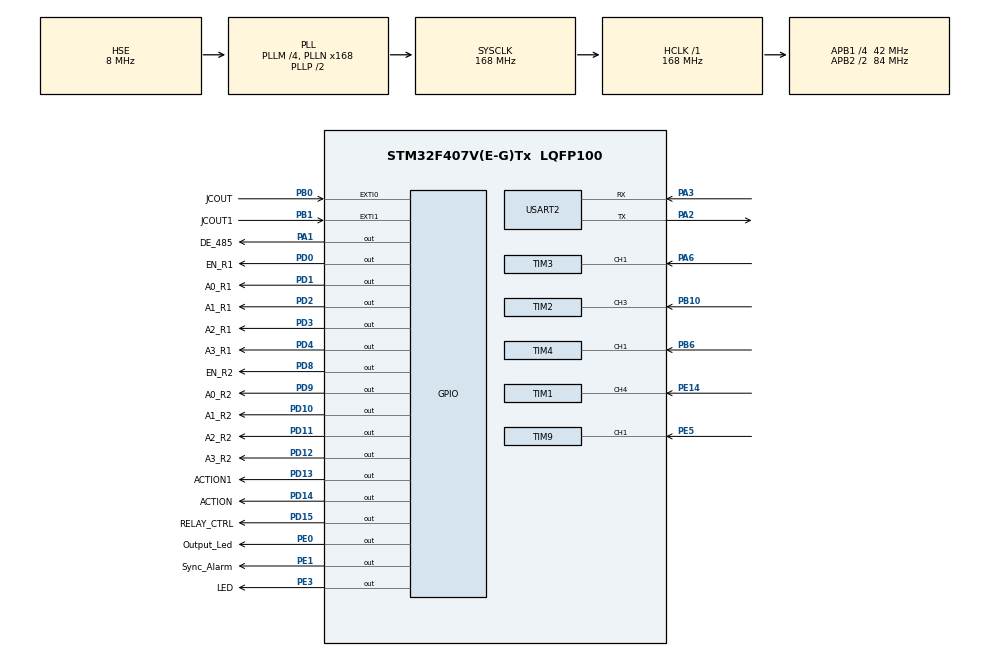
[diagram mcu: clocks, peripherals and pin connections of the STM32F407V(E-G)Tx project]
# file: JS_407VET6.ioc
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FREERTOS.CountingSemaphores01=HolesCountingSem,16,Dynamic,NULL
FREERTOS.Tasks01=SYNCTask,24,128,StartSYNCTask,Default,NULL,Dynamic,NULL,NULL;ICTask,8,128,StartICTask,Default,NULL,Dynamic,NULL,NULL;Rec_SwitchTask,8,128,StartRec_switchTask,Default,NULL,Dynamic,NULL,NULL;Holes_OutputTas,8,128,StartHoles_OutputTask,Default,NULL,Dynamic,NULL,NULL
Mcu.Family=STM32F4
Mcu.Name=STM32F407V(E-G)Tx
Mcu.Package=LQFP100
NVIC.EXTI0_IRQn=true\:5\:0\:false\:false\:true\:true\:true\:true\:true
NVIC.EXTI1_IRQn=true\:5\:0\:false\:false\:true\:true\:true\:true\:true
NVIC.PriorityGroup=NVIC_PRIORITYGROUP_4
NVIC.TIM1_BRK_TIM9_IRQn=true\:5\:0\:false\:false\:true\:true\:true\:true\:true
NVIC.TIM1_CC_IRQn=true\:5\:0\:false\:false\:true\:true\:true\:true\:true
NVIC.TIM1_TRG_COM_TIM11_IRQn=true\:5\:0\:false\:false\:true\:true\:true\:true\:true
NVIC.TIM1_UP_TIM10_IRQn=true\:5\:0\:false\:false\:true\:true\:true\:true\:true
NVIC.TIM2_IRQn=true\:5\:0\:false\:false\:true\:true\:true\:true\:true
NVIC.TIM3_IRQn=true\:5\:0\:false\:false\:true\:true\:true\:true\:true
NVIC.TIM4_IRQn=true\:5\:0\:false\:false\:true\:true\:true\:true\:true
NVIC.TIM6_DAC_IRQn=true\:5\:0\:false\:false\:true\:true\:true\:true\:true
NVIC.TIM7_IRQn=true\:5\:0\:false\:false\:true\:true\:true\:true\:true
NVIC.TIM8_UP_TIM13_IRQn=true\:15\:0\:false\:false\:true\:false\:false\:true\:true
NVIC.TimeBase=TIM8_UP_TIM13_IRQn
NVIC.TimeBaseIP=TIM13
NVIC.USART2_IRQn=true\:5\:0\:false\:false\:true\:true\:true\:true\:true
PA1.GPIO_Label=DE_485
PA1.GPIO_ModeDefaultOutputPP=GPIO_MODE_OUTPUT_PP
PA1.GPIO_PuPd=GPIO_NOPULL
PA1.GPIO_Speed=GPIO_SPEED_FREQ_HIGH
PA1.Signal=GPIO_Output
PA13.Mode=Serial_Wire
PA13.Signal=SYS_JTMS-SWDIO
PA14.Mode=Serial_Wire
PA14.Signal=SYS_JTCK-SWCLK
PA2.Mode=Asynchronous
PA2.Signal=USART2_TX
PA3.Mode=Asynchronous
PA3.Signal=USART2_RX
PA6.Signal=S_TIM3_CH1
PB0.GPIO_Label=JCOUT
PB0.Signal=GPXTI0
PB1.GPIO_Label=JCOUT1
PB1.Signal=GPXTI1
PB10.Signal=S_TIM2_CH3
PB6.Signal=S_TIM4_CH1
PD0.GPIO_Label=EN_R1
PD0.GPIO_ModeDefaultOutputPP=GPIO_MODE_OUTPUT_OD
PD0.GPIO_PuPd=GPIO_NOPULL
PD0.GPIO_Speed=GPIO_SPEED_FREQ_HIGH
PD0.Signal=GPIO_Output
PD1.GPIO_Label=A0_R1
PD1.GPIO_ModeDefaultOutputPP=GPIO_MODE_OUTPUT_OD
PD1.GPIO_PuPd=GPIO_NOPULL
PD1.GPIO_Speed=GPIO_SPEED_FREQ_HIGH
PD1.Signal=GPIO_Output
PD10.GPIO_Label=A1_R2
PD10.GPIO_ModeDefaultOutputPP=GPIO_MODE_OUTPUT_OD
PD10.GPIO_PuPd=GPIO_NOPULL
PD10.GPIO_Speed=GPIO_SPEED_FREQ_HIGH
PD10.Signal=GPIO_Output
PD11.GPIO_Label=A2_R2
PD11.GPIO_ModeDefaultOutputPP=GPIO_MODE_OUTPUT_OD
PD11.GPIO_PuPd=GPIO_NOPULL
PD11.GPIO_Speed=GPIO_SPEED_FREQ_HIGH
PD11.Signal=GPIO_Output
PD12.GPIO_Label=A3_R2
PD12.GPIO_ModeDefaultOutputPP=GPIO_MODE_OUTPUT_OD
PD12.GPIO_PuPd=GPIO_NOPULL
PD12.GPIO_Speed=GPIO_SPEED_FREQ_HIGH
PD12.Signal=GPIO_Output
PD13.GPIO_Label=ACTION1
PD13.GPIO_ModeDefaultOutputPP=GPIO_MODE_OUTPUT_OD
PD13.GPIO_PuPd=GPIO_NOPULL
PD13.GPIO_Speed=GPIO_SPEED_FREQ_HIGH
PD13.Signal=GPIO_Output
PD14.GPIO_Label=ACTION
PD14.GPIO_ModeDefaultOutputPP=GPIO_MODE_OUTPUT_OD
PD14.GPIO_PuPd=GPIO_NOPULL
PD14.GPIO_Speed=GPIO_SPEED_FREQ_HIGH
PD14.Signal=GPIO_Output
PD15.GPIO_Label=RELAY_CTRL
PD15.GPIO_ModeDefaultOutputPP=GPIO_MODE_OUTPUT_OD
PD15.GPIO_PuPd=GPIO_NOPULL
PD15.GPIO_Speed=GPIO_SPEED_FREQ_HIGH
PD15.Signal=GPIO_Output
PD2.GPIO_Label=A1_R1
PD2.GPIO_ModeDefaultOutputPP=GPIO_MODE_OUTPUT_OD
PD2.GPIO_PuPd=GPIO_NOPULL
PD2.GPIO_Speed=GPIO_SPEED_FREQ_HIGH
PD2.Signal=GPIO_Output
PD3.GPIO_Label=A2_R1
PD3.GPIO_ModeDefaultOutputPP=GPIO_MODE_OUTPUT_OD
PD3.GPIO_PuPd=GPIO_NOPULL
PD3.GPIO_Speed=GPIO_SPEED_FREQ_HIGH
PD3.Signal=GPIO_Output
PD4.GPIO_Label=A3_R1
PD4.GPIO_ModeDefaultOutputPP=GPIO_MODE_OUTPUT_OD
PD4.GPIO_PuPd=GPIO_NOPULL
PD4.GPIO_Speed=GPIO_SPEED_FREQ_HIGH
PD4.Signal=GPIO_Output
PD8.GPIO_Label=EN_R2
PD8.GPIO_ModeDefaultOutputPP=GPIO_MODE_OUTPUT_OD
PD8.GPIO_PuPd=GPIO_NOPULL
PD8.GPIO_Speed=GPIO_SPEED_FREQ_HIGH
PD8.Signal=GPIO_Output
PD9.GPIO_Label=A0_R2
PD9.GPIO_ModeDefaultOutputPP=GPIO_MODE_OUTPUT_OD
PD9.GPIO_PuPd=GPIO_NOPULL
PD9.GPIO_Speed=GPIO_SPEED_FREQ_HIGH
PD9.Signal=GPIO_Output
PE0.GPIO_Label=Output_Led
PE0.GPIO_Speed=GPIO_SPEED_FREQ_HIGH
PE0.PinState=GPIO_PIN_SET
PE0.Signal=GPIO_Output
PE1.GPIO_Label=Sync_Alarm
PE1.GPIO_Speed=GPIO_SPEED_FREQ_HIGH
PE1.PinState=GPIO_PIN_SET
PE1.Signal=GPIO_Output
PE14.Signal=S_TIM1_CH4
PE3.GPIO_Label=LED
PE3.GPIO_Speed=GPIO_SPEED_FREQ_HIGH
PE3.Signal=GPIO_Output
PE5.Signal=S_TIM9_CH1
PH0-OSC_IN.Mode=HSE-External-Oscillator
PH0-OSC_IN.Signal=RCC_OSC_IN
PH1-OSC_OUT.Mode=HSE-External-Oscillator
PH1-OSC_OUT.Signal=RCC_OSC_OUT
ProjectManager.HeapSize=0x200
ProjectManager.StackSize=0x400
ProjectManager.TargetToolchain=MDK-ARM V5.32
RCC.48MHZClocksFreq_Value=84000000
RCC.AHBFreq_Value=168000000
RCC.APB1CLKDivider=RCC_HCLK_DIV4
RCC.APB1Freq_Value=42000000
RCC.APB1TimFreq_Value=84000000
RCC.APB2CLKDivider=RCC_HCLK_DIV2
RCC.APB2Freq_Value=84000000
RCC.APB2TimFreq_Value=168000000
RCC.CortexFreq_Value=168000000
RCC.HCLKFreq_Value=168000000
RCC.HSE_VALUE=8000000
RCC.HSI_VALUE=16000000
RCC.LSE_VALUE=32768
RCC.PLLM=4
RCC.PLLN=168
RCC.PLLSourceVirtual=RCC_PLLSOURCE_HSE
RCC.SYSCLKFreq_VALUE=168000000
RCC.SYSCLKSource=RCC_SYSCLKSOURCE_PLLCLK
RCC.VCOOutputFreq_Value=336000000
SH.S_TIM1_CH4.0=TIM1_CH4,Input_Capture4_from_TI4
SH.S_TIM2_CH3.0=TIM2_CH3,Input_Capture3_from_TI3
SH.S_TIM3_CH1.0=TIM3_CH1,Input_Capture1_from_TI1
SH.S_TIM4_CH1.0=TIM4_CH1,Input_Capture1_from_TI1
SH.S_TIM9_CH1.0=TIM9_CH1,Input_Capture1_from_TI1
TIM1.AutoReloadPreload=TIM_AUTORELOAD_PRELOAD_ENABLE
TIM1.Channel-Input_Capture4_from_TI4=TIM_CHANNEL_4
TIM1.ICPolarity_CH4=TIM_INPUTCHANNELPOLARITY_FALLING
TIM1.Period=50000-1
TIM1.Prescaler=168-1
TIM2.AutoReloadPreload=TIM_AUTORELOAD_PRELOAD_ENABLE
TIM2.Channel-Input_Capture3_from_TI3=TIM_CHANNEL_3
TIM2.ICPolarity_CH3=TIM_INPUTCHANNELPOLARITY_RISING
TIM2.Period=100000-1
TIM2.Prescaler=84-1
TIM3.AutoReloadPreload=TIM_AUTORELOAD_PRELOAD_ENABLE
TIM3.Channel-Input_Capture1_from_TI1=TIM_CHANNEL_1
TIM3.ICPolarity_CH1=TIM_INPUTCHANNELPOLARITY_FALLING
TIM3.Period=50000-1
TIM3.Prescaler=84-1
TIM4.AutoReloadPreload=TIM_AUTORELOAD_PRELOAD_ENABLE
TIM4.Channel-Input_Capture1_from_TI1=TIM_CHANNEL_1
TIM4.ICPolarity_CH1=TIM_INPUTCHANNELPOLARITY_FALLING
TIM4.Period=50000-1
TIM4.Prescaler=84-1
TIM6.AutoReloadPreload=TIM_AUTORELOAD_PRELOAD_ENABLE
TIM6.Period=10-1
TIM6.Prescaler=84-1
TIM7.AutoReloadPreload=TIM_AUTORELOAD_PRELOAD_ENABLE
TIM7.Period=500-1
TIM7.Prescaler=84-1
TIM9.AutoReloadPreload=TIM_AUTORELOAD_PRELOAD_ENABLE
TIM9.Channel-Input_Capture1_from_TI1=TIM_CHANNEL_1
TIM9.ICPolarity_CH1=TIM_INPUTCHANNELPOLARITY_FALLING
TIM9.Period=50000-1
TIM9.Prescaler=84-1
USART2.VirtualMode=VM_ASYNC
VP_FREERTOS_VS_CMSIS_V2.Mode=CMSIS_V2
VP_SYS_VS_tim13.Mode=TIM13
VP_TIM1_VS_ClockSourceINT.Mode=Internal
VP_TIM2_VS_ClockSourceINT.Mode=Internal
VP_TIM3_VS_ClockSourceINT.Mode=Internal
VP_TIM4_VS_ClockSourceINT.Mode=Internal
VP_TIM6_VS_ClockSourceINT.Mode=Enable_Timer
VP_TIM7_VS_ClockSourceINT.Mode=Enable_Timer
VP_TIM9_VS_ClockSourceINT.Mode=Internal
board=custom

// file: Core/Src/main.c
/* USER CODE BEGIN Header */
/**
  ******************************************************************************
  * @file           : main.c
  * @brief          : Main program body
  ******************************************************************************
  * @attention
  *
  * Copyright (c) 2024 STMicroelectronics.
  * All rights reserved.
  *
  * This software is licensed under terms that can be found in the LICENSE file
  * in the root directory of this software component.
  * If no LICENSE file comes with this software, it is provided AS-IS.
  *
  ******************************************************************************
  */
/* USER CODE END Header */
#include "main.h"
#include "cmsis_os.h"
#include "tim.h"
#include "usart.h"
#include "gpio.h"

void SystemClock_Config(void);
void MX_FREERTOS_Init(void);

int main(void)
{

  /* MCU Configuration--------------------------------------------------------*/

  /* Reset of all peripherals, Initializes the Flash interface and the Systick. */
  HAL_Init();

  /* Configure the system clock */
  SystemClock_Config();

  /* Initialize all configured peripherals */
  MX_GPIO_Init();
  MX_TIM1_Init();
  MX_TIM2_Init();
  MX_TIM3_Init();
  MX_TIM4_Init();
  MX_TIM9_Init();
  MX_USART2_UART_Init();
  MX_TIM6_Init();
  MX_TIM7_Init();

  /* Init scheduler */
  osKernelInitialize();

  /* Call init function for freertos objects (in cmsis_os2.c) */
  MX_FREERTOS_Init();

  /* Start scheduler */
  osKernelStart();

  /* We should never get here as control is now taken by the scheduler */

  /* Infinite loop */
  while (1)
  {

  }
}

void SystemClock_Config(void)
{
  RCC_OscInitTypeDef RCC_OscInitStruct = {0};
  RCC_ClkInitTypeDef RCC_ClkInitStruct = {0};

  /** Configure the main internal regulator output voltage
  */
  __HAL_RCC_PWR_CLK_ENABLE();
  __HAL_PWR_VOLTAGESCALING_CONFIG(PWR_REGULATOR_VOLTAGE_SCALE1);

  /** Initializes the RCC Oscillators according to the specified parameters
  * in the RCC_OscInitTypeDef structure.
  */
  RCC_OscInitStruct.OscillatorType = RCC_OSCILLATORTYPE_HSE;
  RCC_OscInitStruct.HSEState = RCC_HSE_ON;
  RCC_OscInitStruct.PLL.PLLState = RCC_PLL_ON;
  RCC_OscInitStruct.PLL.PLLSource = RCC_PLLSOURCE_HSE;
  RCC_OscInitStruct.PLL.PLLM = 4;
  RCC_OscInitStruct.PLL.PLLN = 168;
  RCC_OscInitStruct.PLL.PLLP = RCC_PLLP_DIV2;
  RCC_OscInitStruct.PLL.PLLQ = 4;
  if (HAL_RCC_OscConfig(&RCC_OscInitStruct) != HAL_OK)
  {
    Error_Handler();
  }

  /** Initializes the CPU, AHB and APB buses clocks
  */
  RCC_ClkInitStruct.ClockType = RCC_CLOCKTYPE_HCLK|RCC_CLOCKTYPE_SYSCLK
                              |RCC_CLOCKTYPE_PCLK1|RCC_CLOCKTYPE_PCLK2;
  RCC_ClkInitStruct.SYSCLKSource = RCC_SYSCLKSOURCE_PLLCLK;
  RCC_ClkInitStruct.AHBCLKDivider = RCC_SYSCLK_DIV1;
  RCC_ClkInitStruct.APB1CLKDivider = RCC_HCLK_DIV4;
  RCC_ClkInitStruct.APB2CLKDivider = RCC_HCLK_DIV2;

  if (HAL_RCC_ClockConfig(&RCC_ClkInitStruct, FLASH_LATENCY_5) != HAL_OK)
  {
    Error_Handler();
  }
}

// void HAL_TIM_PeriodElapsedCallback(TIM_HandleTypeDef *htim)
// {
//   /* USER CODE BEGIN Callback 0 */

//   /* USER CODE END Callback 0 */
//   if (htim->Instance == TIM13) {
//     HAL_IncTick();
//   }
//   /* USER CODE BEGIN Callback 1 */

//   /* USER CODE END Callback 1 */
// }

void Error_Handler(void)
{
  __disable_irq();
  while (1)
  {
  }
}

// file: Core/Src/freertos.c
/* USER CODE BEGIN Header */
/**
  ******************************************************************************
  * File Name          : freertos.c
  * Description        : Code for freertos applications
  ******************************************************************************
  * @attention
  *
  * Copyright (c) 2024 STMicroelectronics.
  * All rights reserved.
  *
  * This software is licensed under terms that can be found in the LICENSE file
  * in the root directory of this software component.
  * If no LICENSE file comes with this software, it is provided AS-IS.
  *
  ******************************************************************************
  */
/* USER CODE END Header */

#include "FreeRTOS.h"
#include "task.h"
#include "main.h"
#include "cmsis_os.h"

/* USER CODE BEGIN Includes */
#include "tim.h"
#include "gpio.h"
#include "limits.h"
#include "usart.h"
#include "stdio.h"
#include "semphr.h"
#include "portmacro.h"
/* USER CODE END Includes */

/* USER CODE BEGIN Variables */
/*同步信号*/
extern uint32_t Sync_capture_Buf[3]; // 存放计数值
extern uint8_t Sync_Cnt;             // 状态标志位
extern uint32_t Sync_high_time;      // 高电平时间

/* USER CODE END Variables */
/* Definitions for SYNCTask */
osThreadId_t SYNCTaskHandle;
const osThreadAttr_t SYNCTask_attributes = {
  .name = "SYNCTask",
  .stack_size = 128 * 4,
  .priority = (osPriority_t) osPriorityNormal,
};
/* Definitions for ICTask */
osThreadId_t ICTaskHandle;
const osThreadAttr_t ICTask_attributes = {
  .name = "ICTask",
  .stack_size = 128 * 4,
  .priority = (osPriority_t) osPriorityNormal,
};
/* Definitions for Rec_SwitchTask */
osThreadId_t Rec_SwitchTaskHandle;
const osThreadAttr_t Rec_SwitchTask_attributes = {
  .name = "Rec_SwitchTask",
  .stack_size = 128 * 4,
  .priority = (osPriority_t) osPriorityNormal,
};
/* Definitions for Holes_OutputTas */
osThreadId_t Holes_OutputTasHandle;
const osThreadAttr_t Holes_OutputTas_attributes = {
  .name = "Holes_OutputTask",
  .stack_size = 128 * 4,
  .priority = (osPriority_t) osPriorityNormal,
};
/* Definitions for HolesCountingSem */
osSemaphoreId_t HolesCountingSemHandle;
const osSemaphoreAttr_t HolesCountingSem_attributes = {
  .name = "HolesCountingSem"
};

void StartSYNCTask(void *argument);
void StartICTask(void *argument);
void StartRec_switchTask(void *argument);
void StartHoles_OutputTask(void *argument);

void MX_FREERTOS_Init(void); /* (MISRA C 2004 rule 8.1) */

void MX_FREERTOS_Init(void) {

  /* Create the semaphores(s) */
  /* creation of HolesCountingSem */
  HolesCountingSemHandle = osSemaphoreNew(16, 16, &HolesCountingSem_attributes);

  /* creation of ICTask */
  ICTaskHandle = osThreadNew(StartICTask, NULL, &ICTask_attributes);

  /* creation of Rec_SwitchTask */
  Rec_SwitchTaskHandle = osThreadNew(StartRec_switchTask, NULL, &Rec_SwitchTask_attributes);

  /* creation of Holes_OutputTas */
  Holes_OutputTasHandle = osThreadNew(StartHoles_OutputTask, NULL, &Holes_OutputTas_attributes);

  /* USER CODE BEGIN RTOS_THREADS */
  /* add threads, ... */
    /* Create the thread(s) */
  /* creation of SYNCTask */
  SYNCTaskHandle = osThreadNew(StartSYNCTask, NULL, &SYNCTask_attributes);
  /* USER CODE END RTOS_THREADS */

}

void StartSYNCTask(void *argument)
{
  /* USER CODE BEGIN StartSYNCTask */
//	BaseType_t xHigherPriorityTaskWoken = pdFALSE;

  /* Infinite loop */
  for (;;)
  {

    switch (Sync_Cnt)
    {
    case 0:
      Sync_Cnt++;
      TIM_RESET_CAPTUREPOLARITY(&htim2, TIM_CHANNEL_3);
      __HAL_TIM_SET_CAPTUREPOLARITY(&htim2, TIM_CHANNEL_3, TIM_INPUTCHANNELPOLARITY_RISING);
      HAL_TIM_IC_Start_IT(&htim2, TIM_CHANNEL_3); // 启动输入捕获       或者: __HAL_TIM_ENABLE(&htim5);
      break;
    case 3:
      if (Sync_capture_Buf[1] < Sync_capture_Buf[0])
      {                                                                       // 不存在先捕获高电平后捕获低电平capture_Buf[1]<capture_Buf[0],肯定是有了溢出
        Sync_high_time = 0x186A0 + Sync_capture_Buf[1] - Sync_capture_Buf[0]; // 100000    0x186A0
      }
      else
      {
        Sync_high_time = Sync_capture_Buf[1] - Sync_capture_Buf[0]; // 高电平时间
      }

      Sync_Cnt = 0;
      if (Sync_high_time == 0x1B)
      {
        Sync_Cnt = 5;
#if 0
        xTaskNotify((TaskHandle_t)StartICTask, 0x01, eSetValueWithOverwrite);
        xTaskNotify((TaskHandle_t)StartRec_switchTask, 0x01, eSetValueWithOverwrite);
#endif
#if 1
        xTaskNotifyGive((TaskHandle_t)ICTaskHandle);
        xTaskNotifyGive((TaskHandle_t)Rec_SwitchTaskHandle);
#endif
      }
      else{
        Sync_Cnt = 0;
      }
    }
    osDelay(1);
  }
  /* USER CODE END StartSYNCTask */
}

void StartICTask(void *argument)
{
  /* USER CODE BEGIN StartICTask */
	BaseType_t ret;
	uint32_t NotifyValue;
  /* Infinite loop */
  for(;;)
  {

#if 0

    ret = xTaskNotifyWait((uint32_t)0x00,
                          (uint32_t)ULONG_MAX,
                          (uint32_t *)&NotifyValue,
                          (TickType_t)portMAX_DELAY);
#endif

#if 1
    ret = ulTaskNotifyTake(pdFALSE,0);
#endif
          if(ret==pdPASS){
            //能否正确开启捕获？待测试
            //LTODO:待测试
            //LHACK:如果不行更换为HAL_TIM_IC_Start_IT函数
            //LXXX:按照所查资料提示，如果不行那就还是将同步引脚更改为其他引脚，TIM2作为主定时器通过事件触发从定时器同步捕获，硬件层面的同步捕获
            // __HAL_TIM_ENABLE_IT(&htim1,TIM_IT_CC4);
            // __HAL_TIM_ENABLE_IT(&htim3,TIM_IT_CC1);
            // __HAL_TIM_ENABLE_IT(&htim4,TIM_IT_CC1);
            // __HAL_TIM_ENABLE_IT(&htim9,TIM_IT_CC1);
            HAL_TIM_IC_Start_IT(&htim4,TIM_CHANNEL_1);
          }
					else{
            printf("StartICTask任务通知获取失败\r\n");
          }
    osDelay(1);
  }
  /* USER CODE END StartICTask */
}

void StartRec_switchTask(void *argument)
{
  /* USER CODE BEGIN StartRec_switchTask */
  BaseType_t ret;
  uint32_t NotifyValue;
  /* Infinite loop */
  for (;;)
  {

#if 0

    ret = xTaskNotifyWait((uint32_t)0x00,
                          (uint32_t)ULONG_MAX,
                          (uint32_t *)&NotifyValue,
                          (TickType_t)portMAX_DELAY);
#endif
#if 1
    ret = ulTaskNotifyTake(pdFALSE, 0);
#endif
    if (ret == pdPASS)
    {
      EN_R1_R2_open();
      HAL_TIM_Base_Start_IT(&htim6); // start timer for R1_channel switch
    }
    else
    {
      printf("StartRec_switchTask任务通知获取失败\r\n");
    }
    osDelay(1);
  }
  /* USER CODE END StartRec_switchTask */
}

void StartHoles_OutputTask(void *argument)
{
  /* USER CODE BEGIN StartHoles_OutputTask */
	uint8_t semavalue=0;
  /* Infinite loop */
  for(;;)
  {
    BaseType_t xHigherPriorityTaskWoken;
    xSemaphoreTakeFromISR(HolesCountingSemHandle,&xHigherPriorityTaskWoken);
		semavalue=uxSemaphoreGetCount(HolesCountingSemHandle);
		if(semavalue>0){
			Holes_output_alarm_Open();
			HAL_Delay(500);
			Holes_output_alarm_Close();
		}
    osDelay(1);
  }
  /* USER CODE END StartHoles_OutputTask */
}
